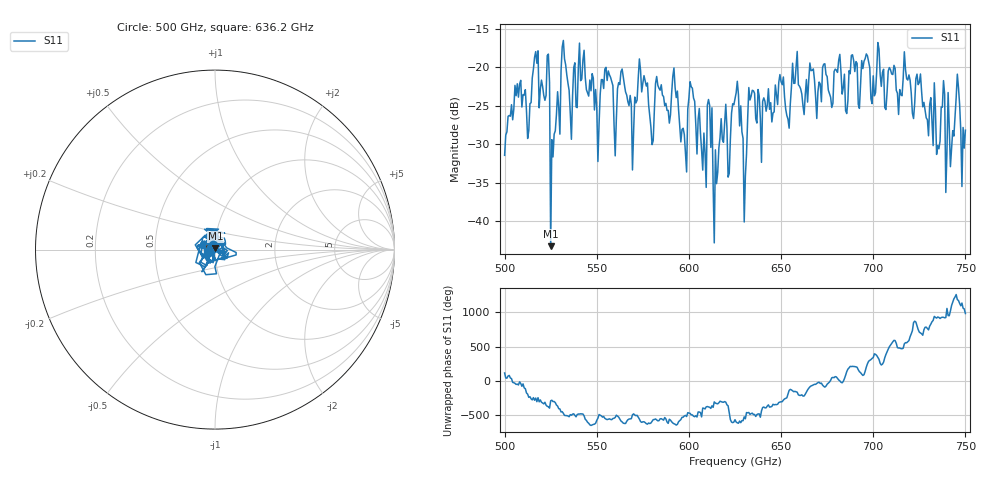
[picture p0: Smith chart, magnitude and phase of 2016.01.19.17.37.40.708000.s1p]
!Created with skrf (http://scikit-rf.org).
# GHz S RI R 50.0
!freq ReS11 ImS11
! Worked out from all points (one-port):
!   401 points, 500 GHz to 750 GHz, reference 50 ohm
!   lowest |S11| = -43.3 dB at 525 GHz (marker M1), VSWR 1.01, Z = 50.2 + j0.657 ohm
!   |S11| at or under -10 dB: start of sweep to end of sweep
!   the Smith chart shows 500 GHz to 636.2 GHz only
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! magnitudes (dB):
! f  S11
! 500 GHz  -31.5
! 506.9 GHz  -22.2
! 513.1 GHz  -28.2
! 516.9 GHz  -18.0
! 523.1 GHz  -18.5
! 525 GHz  -43.3
! 526.2 GHz  -31.7
! 531.2 GHz  -17.4
! 541.9 GHz  -21.6
! 550 GHz  -25.2
! 562.5 GHz  -22.3
! 568.8 GHz  -24.9
! 574.4 GHz  -23.2
! 580 GHz  -30.1
! 583.1 GHz  -22.4
! 593.8 GHz  -23.1
! 597.5 GHz  -28.8
! 601.9 GHz  -22.7
! 608.1 GHz  -28.6
! 611.2 GHz  -25.0
! 614.4 GHz  -30.7
! 625 GHz  -24.1
! 630 GHz  -40.1
! 633.8 GHz  -23.8
! 656.2 GHz  -19.5
! 687.5 GHz  -20.9
! 718.8 GHz  -21.7
! 750 GHz  -28.2
